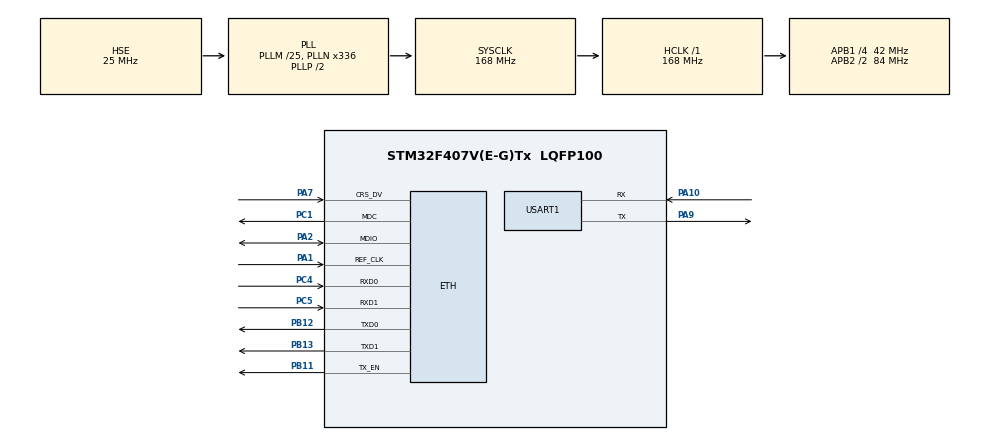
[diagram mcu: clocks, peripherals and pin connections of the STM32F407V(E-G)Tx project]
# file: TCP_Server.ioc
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ETH.MediaInterface=HAL_ETH_RMII_MODE
LWIP.BSP.number=1
LWIP.IP_ADDRESS=192.168.001.100
LWIP.LWIP_DHCP=0
LWIP.NETMASK_ADDRESS=255.255.255.000
LWIP.Version=v2.1.2_Cube
LWIP0.BSP.STBoard=false
LWIP0.BSP.api=BSP_COMPONENT_DRIVER
LWIP0.BSP.component=DP83848
LWIP0.BSP.instance=DP83848
LWIP0.BSP.name=Driver_PHY
LWIP0.BSP.semaphore=S_DP83848
LWIP0.BSP.solution=DP83848
Mcu.Family=STM32F4
Mcu.Name=STM32F407V(E-G)Tx
Mcu.Package=LQFP100
NVIC.PriorityGroup=NVIC_PRIORITYGROUP_4
NVIC.USART1_IRQn=true\:0\:0\:false\:false\:true\:true\:true\:true
PA1.Mode=RMII
PA1.Signal=ETH_REF_CLK
PA10.Mode=Asynchronous
PA10.Signal=USART1_RX
PA2.Mode=RMII
PA2.Signal=ETH_MDIO
PA7.Mode=RMII
PA7.Signal=ETH_CRS_DV
PA9.Mode=Asynchronous
PA9.Signal=USART1_TX
PB11.Mode=RMII
PB11.Signal=ETH_TX_EN
PB12.Mode=RMII
PB12.Signal=ETH_TXD0
PB13.Mode=RMII
PB13.Signal=ETH_TXD1
PC1.Mode=RMII
PC1.Signal=ETH_MDC
PC4.Mode=RMII
PC4.Signal=ETH_RXD0
PC5.Mode=RMII
PC5.Signal=ETH_RXD1
PH0-OSC_IN.Mode=HSE-External-Oscillator
PH0-OSC_IN.Signal=RCC_OSC_IN
PH1-OSC_OUT.Mode=HSE-External-Oscillator
PH1-OSC_OUT.Signal=RCC_OSC_OUT
ProjectManager.HeapSize=0x200
ProjectManager.StackSize=0x400
ProjectManager.TargetToolchain=STM32CubeIDE
RCC.48MHZClocksFreq_Value=84000000
RCC.AHBFreq_Value=168000000
RCC.APB1CLKDivider=RCC_HCLK_DIV4
RCC.APB1Freq_Value=42000000
RCC.APB1TimFreq_Value=84000000
RCC.APB2CLKDivider=RCC_HCLK_DIV2
RCC.APB2Freq_Value=84000000
RCC.APB2TimFreq_Value=168000000
RCC.CortexFreq_Value=168000000
RCC.HCLKFreq_Value=168000000
RCC.HSE_VALUE=25000000
RCC.HSI_VALUE=16000000
RCC.LSE_VALUE=32768
RCC.PLLM=25
RCC.PLLN=336
RCC.PLLSourceVirtual=RCC_PLLSOURCE_HSE
RCC.SYSCLKFreq_VALUE=168000000
RCC.SYSCLKSource=RCC_SYSCLKSOURCE_PLLCLK
RCC.VCOOutputFreq_Value=336000000
USART1.VirtualMode=VM_ASYNC
VP_LWIP_VS_Enabled.Mode=Enabled
board=custom

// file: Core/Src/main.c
/* USER CODE BEGIN Header */
/**
  ******************************************************************************
  * @file           : main.c
  * @brief          : Main program body
  ******************************************************************************
  * @attention
  *
  * Copyright (c) 2023 STMicroelectronics.
  * All rights reserved.
  *
  * This software is licensed under terms that can be found in the LICENSE file
  * in the root directory of this software component.
  * If no LICENSE file comes with this software, it is provided AS-IS.
  *
  ******************************************************************************
  */
/* USER CODE END Header */
#include "main.h"
#include "lwip.h"

/* USER CODE BEGIN Includes */
#include "lwip/init.h"
#include "lwip/netif.h"
#include "lwip/tcp.h"

/* USER CODE END Includes */

/* USER CODE BEGIN PTD */
#define PUTCHAR_PROTOTYPE int __io_putchar(int ch)
#define buffer_length 256
char line_buffer[buffer_length];
int buffer_pos = 0;

char uart_receive_buffer[buffer_length];
int uart_receive_pos =0;
uint8_t rx_buffer[1]; // Buffer to hold one byte. This can be global or static for persistence.
// 3. Initialize TCP
  struct tcp_pcb *pcb;
  struct tcp_pcb *send_pcb;
//#ifdef __GNUC__
//#define PUTCHAR_PROTOTYPE int __io_putchar(int ch)
//#else
//#define PUTCHAR_PROTOTYPE int fputc(int ch, FILE *f)
//#endif
/* USER CODE END PTD */

UART_HandleTypeDef huart1;

void SystemClock_Config(void);
static void MX_GPIO_Init(void);
static void MX_USART1_UART_Init(void);

/* USER CODE BEGIN 0 */
err_t tcp_recv_callback(void *arg, struct tcp_pcb *tpcb, struct pbuf *p, err_t err) {

    if (p != NULL) {
        // Forward data to UART
//    	printf("TCP_Recieved char: \n\r");
//    	HAL_UART_Transmit(&huart1,p->payload, p->len, HAL_MAX_DELAY);

    	// read a line

    	char *data = (char *)p->payload;
    	        for (int i = 0; i < p->len; i++) {
    	            // Check if we've received a newline or if the buffer is full
    	            if (data[i] == '\r' || buffer_pos == (buffer_length - 1)) {
    	                line_buffer[buffer_pos] = '\0'; // Null-terminate the string

    	                // Process the line
    	                process_line(line_buffer);
    	                buffer_pos = 0; // Reset the buffer for the next line
    	            } else {
    	                // Otherwise, add the character to the buffer
    	                line_buffer[buffer_pos++] = data[i];
    	            }
    	        }

//    	// Echo the data back to the TCP sender
//    	        if (tcp_sndbuf(tpcb) > p->len) {
//    	            tcp_write(tpcb, p->payload, p->len, 1); // The '1' means copy the data.
//    	            tcp_output(tpcb); // Trigger the sending of the data.
//    	        } else {
//    	            // Handle case where there's not enough space in the buffer.
//    	            // Maybe close the connection or wait for some buffer to get free.
//    	        }

        tcp_recved(tpcb, p->len);
        pbuf_free(p);
    } else {
        tcp_close(tpcb);
    }
    return ERR_OK;
}

err_t accept_callback(void *arg, struct tcp_pcb *newpcb, err_t err) {
	send_pcb = newpcb;
    tcp_recv(newpcb, tcp_recv_callback);
    return ERR_OK;
}

void process_line(char *line) {
//	printf("We got a Line: \n\r");
    // Process your line here. For example, send it to UART.
	HAL_UART_Transmit(&huart1,line,buffer_pos, HAL_MAX_DELAY);
}

/* USER CODE END 0 */

int main(void)
{
  /* USER CODE BEGIN 1 */
// char fix_message[]={"USART1_Debug Started"};

  /* USER CODE END 1 */

  /* MCU Configuration--------------------------------------------------------*/

  /* Reset of all peripherals, Initializes the Flash interface and the Systick. */
  HAL_Init();

  /* Configure the system clock */
  SystemClock_Config();

  /* Initialize all configured peripherals */
  MX_GPIO_Init();
  MX_USART1_UART_Init();
  MX_LWIP_Init();
  /* USER CODE BEGIN 2 */
  //HAL_UART_Transmit(&huart1,fix_message,19, HAL_MAX_DELAY);
  /* tcp echo server Init */

 pcb = tcp_new();
   if (pcb == NULL) {
 	  // Handle error
 	  return -1;
   }

      // 4. Start Listening for Incoming Connections
          tcp_bind(pcb, IP_ADDR_ANY, 1234); // Listening on port 1234
          pcb = tcp_listen(pcb);
          tcp_accept(pcb, accept_callback);
  /* USER CODE END 2 */

  /* Infinite loop */
  /* USER CODE BEGIN WHILE */

HAL_UART_Receive_IT(&huart1, rx_buffer, 1);
  while (1)
  {

	  MX_LWIP_Process();
    /* USER CODE END WHILE */

  }
}

void SystemClock_Config(void)
{
  RCC_OscInitTypeDef RCC_OscInitStruct = {0};
  RCC_ClkInitTypeDef RCC_ClkInitStruct = {0};

  /** Configure the main internal regulator output voltage
  */
  __HAL_RCC_PWR_CLK_ENABLE();
  __HAL_PWR_VOLTAGESCALING_CONFIG(PWR_REGULATOR_VOLTAGE_SCALE1);

  /** Initializes the RCC Oscillators according to the specified parameters
  * in the RCC_OscInitTypeDef structure.
  */
  RCC_OscInitStruct.OscillatorType = RCC_OSCILLATORTYPE_HSE;
  RCC_OscInitStruct.HSEState = RCC_HSE_ON;
  RCC_OscInitStruct.PLL.PLLState = RCC_PLL_ON;
  RCC_OscInitStruct.PLL.PLLSource = RCC_PLLSOURCE_HSE;
  RCC_OscInitStruct.PLL.PLLM = 25;
  RCC_OscInitStruct.PLL.PLLN = 336;
  RCC_OscInitStruct.PLL.PLLP = RCC_PLLP_DIV2;
  RCC_OscInitStruct.PLL.PLLQ = 4;
  if (HAL_RCC_OscConfig(&RCC_OscInitStruct) != HAL_OK)
  {
    Error_Handler();
  }

  /** Initializes the CPU, AHB and APB buses clocks
  */
  RCC_ClkInitStruct.ClockType = RCC_CLOCKTYPE_HCLK|RCC_CLOCKTYPE_SYSCLK
                              |RCC_CLOCKTYPE_PCLK1|RCC_CLOCKTYPE_PCLK2;
  RCC_ClkInitStruct.SYSCLKSource = RCC_SYSCLKSOURCE_PLLCLK;
  RCC_ClkInitStruct.AHBCLKDivider = RCC_SYSCLK_DIV1;
  RCC_ClkInitStruct.APB1CLKDivider = RCC_HCLK_DIV4;
  RCC_ClkInitStruct.APB2CLKDivider = RCC_HCLK_DIV2;

  if (HAL_RCC_ClockConfig(&RCC_ClkInitStruct, FLASH_LATENCY_5) != HAL_OK)
  {
    Error_Handler();
  }
}

static void MX_USART1_UART_Init(void)
{

  huart1.Instance = USART1;
  huart1.Init.BaudRate = 115200;
  huart1.Init.WordLength = UART_WORDLENGTH_8B;
  huart1.Init.StopBits = UART_STOPBITS_1;
  huart1.Init.Parity = UART_PARITY_NONE;
  huart1.Init.Mode = UART_MODE_TX_RX;
  huart1.Init.HwFlowCtl = UART_HWCONTROL_NONE;
  huart1.Init.OverSampling = UART_OVERSAMPLING_16;
  if (HAL_UART_Init(&huart1) != HAL_OK)
  {
    Error_Handler();
  }
  /* USER CODE BEGIN USART1_Init 2 */
  __HAL_UART_ENABLE_IT(&huart1, UART_IT_RXNE);
  HAL_NVIC_EnableIRQ(USART1_IRQn);
  HAL_NVIC_SetPriority(USART1_IRQn, 0, 0);
  /* USER CODE END USART1_Init 2 */

}

static void MX_GPIO_Init(void)
{

  /* GPIO Ports Clock Enable */
  __HAL_RCC_GPIOH_CLK_ENABLE();
  __HAL_RCC_GPIOC_CLK_ENABLE();
  __HAL_RCC_GPIOA_CLK_ENABLE();
  __HAL_RCC_GPIOB_CLK_ENABLE();

}

/* USER CODE BEGIN 4 */
PUTCHAR_PROTOTYPE {

//	while(!(USART1->SR & USART_SR_TXE));
//	USART1->DR = ch;
//	return ch;
//
	HAL_UART_Transmit(&huart1, (uint8_t *)&ch, 1, 0xFFFF);
	  return ch;

}

void HAL_UART_RxCpltCallback(UART_HandleTypeDef *huart)
{
    if(huart->Instance == USART1)
    {
        uint8_t data;
        data = (uint8_t)(huart->Instance->DR & (uint8_t)0x00FF);

        if (data == '\n' || uart_receive_pos == (buffer_length - 1)) {
        	//uart_receive_buffer[uart_receive_pos++] = '\0'; // Null-terminate the string
        	uart_receive_buffer[uart_receive_pos] = '\n'; //
           	                // Process the line
           	                process_uart_receive(uart_receive_buffer,send_pcb);
           	             uart_receive_pos = 0; // Reset the buffer for the next line
           	            } else {
           	                // Otherwise, add the character to the buffer
           	            	uart_receive_buffer[uart_receive_pos++] = data;
           	            }

        // Handle received data as needed
        // For example, you can store it in a buffer or process it
        HAL_UART_Receive_IT(&huart1, rx_buffer, 1);
    }

}

void process_uart_receive(char *msg, struct tcp_pcb *upcb)
{
if (tcp_sndbuf(upcb) > uart_receive_pos) {
tcp_write(upcb, msg,uart_receive_pos, 1); // The '1' means copy the data
tcp_output(upcb); // Trigger the sending of the data.
}

else
{
printf("TCP Buffer is full\n\r");
}
}

/* USER CODE END 4 */

void Error_Handler(void)
{
  __disable_irq();
  while (1)
  {
  }
}
